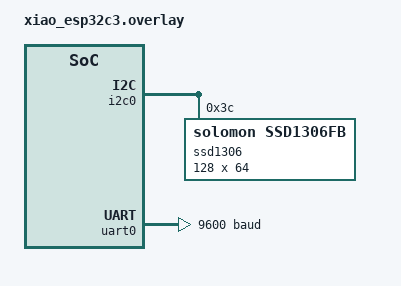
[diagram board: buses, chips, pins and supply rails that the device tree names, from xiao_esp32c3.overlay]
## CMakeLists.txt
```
cmake_minimum_required(VERSION 3.22)
set(BOARD xiao_esp32c3)

find_package(Zephyr)
project(digital_speedometer)

include(${ZEPHYR_BASE}/cmake/cfb.cmake NO_POLICY_SCOPE)

target_sources(app PRIVATE src/main.c src/nmea_parser.h src/nmea_parser.c)

set(gen_dir ${ZEPHYR_BINARY_DIR}/include/generated/)
generate_cfb_font_for_target(app fonts/JetBrainsMono-Bold.ttf ${gen_dir}/cfb_font_speed_bold.h 26 48 -s 40 --first 32 --last 126)
```

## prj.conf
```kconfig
# I2C for SSD1306 Display
CONFIG_I2C=y

# UART for ublox NEO-6M GPS
CONFIG_SERIAL=y
CONFIG_UART_INTERRUPT_DRIVEN=y

# SSD1306 Display
CONFIG_DISPLAY=y
CONFIG_SSD1306=y
CONFIG_SSD1306_DEFAULT=y
CONFIG_SSD1306_DEFAULT_CONTRAST=255
CONFIG_SSD1306_REVERSE_MODE=y

# Custom fonts
CONFIG_CHARACTER_FRAMEBUFFER=y
CONFIG_CHARACTER_FRAMEBUFFER_USE_DEFAULT_FONTS=n

# Logging
CONFIG_CFB_LOG_LEVEL_DBG=y
CONFIG_LOG=y

# Needed for use of sscanf()
CONFIG_NEWLIB_LIBC=y
CONFIG_NEWLIB_LIBC_NANO=y
CONFIG_NEWLIB_LIBC_FLOAT_PRINTF=y
CONFIG_NEWLIB_LIBC_FLOAT_SCANF=y
```

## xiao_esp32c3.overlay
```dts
&i2c0 {
	ssd1306: ssd1306@3c {
		compatible = "solomon,ssd1306fb";
		reg = <0x3c>;
		height = <64>;
		width = <128>;
		segment-offset = <0>;
		page-offset = <0>;
		display-offset = <0>;
		multiplex-ratio = <63>;
		prechargep = <0x22>;
		com-invdir;
		segment-remap;
	};
};

&uart0 {
	status = "okay";
	current-speed = <9600>;
};
```

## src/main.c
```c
#include <zephyr/kernel.h>
#include <zephyr/device.h>
#include <zephyr/kernel.h>
#include <zephyr/display/cfb.h>
#include <zephyr/drivers/display.h>
#include <zephyr/drivers/uart.h>
#include <zephyr/logging/log.h>
#include <zephyr/sys/printk.h>

#include <stdint.h>
#include <stdio.h>
#include <stdlib.h>
#include <string.h>

#include "nmea_parser.h"

LOG_MODULE_REGISTER(Speedometer);

/* SSD1306 Display */
#define DISPLAY_BUFFER_PITCH 128
static const struct device *display_dev = DEVICE_DT_GET(DT_NODELABEL(ssd1306));

/* UART */
#define UART_NODE1 DT_NODELABEL(uart0)
static const struct device *const uart_dev = DEVICE_DT_GET(UART_NODE1);
#define MSG_SIZE 82
K_MSGQ_DEFINE(uart_msgq, MSG_SIZE, 10, 128); // Meassage queue for UART

void uart_cb(const struct device *dev, void *user_data) {
	ARG_UNUSED(user_data);

	uint8_t c;
	int rx_buf_pos = 0;
	char rx_buf[MSG_SIZE]; // 80 + 2 for \r\n; maximum length according to NMEA 0183 standard

	while (uart_fifo_read(uart_dev, &c, 1) == 1) {
		if ((c == '\n' || c == '\r') && rx_buf_pos > 0) {
			/* terminate string */
			rx_buf[rx_buf_pos] = '\0';

			/* if queue is full, message is silently dropped */
			k_msgq_put(&uart_msgq, &rx_buf, K_NO_WAIT);

			/* reset the buffer (it was copied to the msgq) */
			rx_buf_pos = 0;
		} else if (rx_buf_pos < (sizeof(rx_buf) - 1)) {
			rx_buf[rx_buf_pos++] = c;
		}
		/* else: characters beyond buffer size are dropped */
	}
}

int uart_init() {
	if (uart_dev == NULL) {
		LOG_ERR("uart device pointer is NULL");
		return -1;
	}

	if (!device_is_ready(uart_dev)) {
		LOG_ERR("uart device is not ready");
		return -1;
	}

	int ret = uart_irq_callback_user_data_set(uart_dev, uart_cb, NULL);

	if (ret < 0) {
		if (ret == -ENOTSUP) {
			printk("Interrupt-driven UART API support not enabled\n");
			return -ENOTSUP;
		} else if (ret == -ENOSYS) {
			printk("UART device does not support interrupt-driven API\n");
			return -ENOSYS;
		} else {
			printk("Error setting UART callback: %d\n", ret);
			return ret;
		}
		return 0;
	}
	uart_irq_rx_enable(uart_dev);

	LOG_INF("UART-Device Name: %s", uart_dev->name);

	return 0;
}

int display_init() {
	if (display_dev == NULL) {
		LOG_ERR("display device pointer is NULL");
		return -1;
	}

	if (!device_is_ready(display_dev)) {
		LOG_ERR("display device is not ready");
		return -1;
	}

	if (display_set_pixel_format(display_dev, PIXEL_FORMAT_MONO10) != 0)
	{
		LOG_ERR("Failed to set required pixel format\n");
		return -1;
	}

	if (cfb_framebuffer_init(display_dev))
	{
		LOG_ERR("Framebuffer initialization failed!\n");
		return -1;
	}

	/* DISPLAY INIT */
	cfb_framebuffer_clear(display_dev, true);
	display_blanking_off(display_dev);
	struct display_capabilities capabilities;
	display_get_capabilities(display_dev, &capabilities);

	const uint16_t x_res = capabilities.x_resolution;
	const uint16_t y_res = capabilities.y_resolution;

	LOG_INF("x_resolution: %d", x_res);
	LOG_INF("y_resolution: %d", y_res);
	LOG_INF("supported pixel formats: %d", capabilities.supported_pixel_formats);
	LOG_INF("screen_info: %d", capabilities.screen_info);
	LOG_INF("current_pixel_format: %d", capabilities.current_pixel_format);
	LOG_INF("current_orientation: %d", capabilities.current_orientation);

	const struct display_buffer_descriptor buf_desc = {
		.width = x_res,
		.height = y_res,
		.buf_size = x_res * y_res,
		.pitch = DISPLAY_BUFFER_PITCH
	};

	cfb_framebuffer_clear(display_dev, false);
	/* END DISPLAY INIT*/

	return 0;
}

int initialize_devices(void) {
	if (display_init()) {
		LOG_ERR("Failed to initialize display");
		return;
	}

	if (uart_init()) {
		LOG_ERR("Failed to initialize uart");
		return;
	}

	return 0;
}

void display_print_speed(struct device *dev, uint8_t brightness, char *buf) {
	if (display_set_contrast(dev, brightness)) {
		LOG_ERR("could not set display contrast");
	}
	cfb_framebuffer_clear(dev, false);
	cfb_framebuffer_set_font(dev, 0);
	cfb_print(dev, buf, 0, 0);
	cfb_framebuffer_finalize(dev);
}

void main(void) {
	struct nmea_data nmea_data;
	struct gprmc_data gprmc;
    nmea_data.gprmc = gprmc;
	struct gpvtg_data gpvtg;
    nmea_data.gpvtg = gpvtg;
	struct gpgga_data gpgga;
	nmea_data.gpgga = gpgga;
	
	uint8_t tx_buf[MSG_SIZE];
	int ret = 0;

	LOG_INF("Starting speedometer");

	if (initialize_devices()) {
		LOG_ERR("Failed to initialize devices");
		return;
	}
	
	while (k_msgq_get(&uart_msgq, &tx_buf, K_FOREVER) == 0) {
		ret = parse_nmea(tx_buf, &nmea_data);
		if (ret) {
			LOG_ERR("Failed to parse NMEA message");
			continue;
		}
		display_print_speed(display_dev, 255, gpvtg.ground_speed_kph);
	}

}
```

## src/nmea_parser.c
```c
#include "nmea_parser.h"
#include <stdio.h>
#include <string.h>

/*
 * GPRMC:
 *  GPRMC - Recommended minimum specific GPS/Transit data
 * 
 * Example GPRMC string:
 *  $GPRMC,225446,A,4916.45,N,12311.12,W,000.5,054.7,191194,020.3,E*68
 * 
 * Functions:
 *  is_gprmc() returns 1 if the string is a GPRMC string, 0 otherwise
 *  parse_gprmc() parses the GPRMC string and stores the data in the data struct
 * 
 * Data struct:
 *  struct gprmc_data
 *      - time: time in UTC (hhmmss.ss) [char[10]]
 *      - status: status (A=active or V=void) [char]
 *      - latitude: latitude (ddmm.mmmm) [char[10]]
 *      - latitude_direction: latitude direction (N=north or S=south) [char]
 *      - longitude: longitude (dddmm.mmmm) [char[10]]
 *      - longitude_direction: longitude direction (E=east or W=west) [char]
 *      - speed: speed over ground in knots (000.0-999.9) [char[10]]
 *      - course: course over ground (degrees) (000.0-359.9) [char[10]]
 *      - date: date (ddmmyy) [char[10]]
 *      - magnetic_variation: magnetic variation (degrees) [char[10]]
 *      - magnetic_variation_direction: magnetic variation direction (E=east or W=west) [char]
 */ 

int is_gprmc(char *nmea) {
    if (strncmp(nmea, "$GPRMC", (unsigned long)6) == 0) {
        return 1;
    }
    return 0;
}

int parse_gprmc(char *nmea, struct gprmc_data *data) {
    // Parse the NMEA data and store it in the data struct
    if (!is_gprmc(nmea)) {
        return -1;
    }
    // Example parsing code for GPRMC data
    sscanf(nmea, "$GPRMC,%[^,],%c,%[^,],%c,%[^,],%c,%[^,],%[^,],%[^,],%[^,],%c",
           data->time, &data->status, data->latitude, &data->latitude_direction,
           data->longitude, &data->longitude_direction, data->speed, data->course,
           data->date, data->magnetic_variation, &data->magnetic_variation_direction);
    return 0;
}

/*
 * GPVTG:
 *  GPVTG - Track Made Good and Ground Speed
 * 
 * Example GPVTG string:
 *  $GPVTG,054.7,T,034.4,M,005.5,N,010.2,K*48
 * 
 * Functions:
 *  is_gpvtg() returns 1 if the string is a GPVTG string, 0 otherwise
 *  parse_gpvtg() parses the GPVTG string and stores the data in the data struct
 * 
 * Data struct:
 *  struct gpvtg_data
 *      - true_track: true track made good (degrees) (000.0-359.9) [char[10]]
 *      - true_track_indicator: true track made good indicator (T) [char]
 *      - magnetic_track: magnetic track made good (degrees) (000.0-359.9) [char[10]]
 *      - magnetic_track_indicator: magnetic track made good indicator (M) [char]
 *      - ground_speed_knots: ground speed in knots (000.0-999.9) [char[10]]
 *      - ground_speed_knots_unit: ground speed in knots unit (N) [char]
 *      - ground_speed_kph: ground speed in kilometers per hour (000.0-999.9) [char[10]]
 *      - ground_speed_kph_unit: ground speed in kilometers per hour unit (K) [char]
 */ 

int is_gpvtg(char *nmea) {
    if (strncmp(nmea, "$GPVTG", (unsigned long)6) == 0) {
        return 1;
    }
    return 0;
}

int parse_gpvtg(char *nmea, struct gpvtg_data *data) {
    // Parse the NMEA data and store it in the data struct
    if (!is_gpvtg(nmea)) {
        return -1;
    }
    // Example parsing code for GPVTG data
    sscanf(nmea, "$GPVTG,%[^,],%c,%[^,],%c,%[^,],%c,%[^,],%c",
           data->true_track, &data->true_track_indicator, data->magnetic_track,
           &data->magnetic_track_indicator, data->ground_speed_knots,
           &data->ground_speed_knots_unit, data->ground_speed_kph,
           &data->ground_speed_kph_unit);
    return 0;
}

/*
 * GPGGA:
 *  GPGGA - Global Positioning System Fix Data
 * 
 * Example GPGGA string:
 *  $GPGGA,123519,4807.038,N,01131.000,E,1,08,0.9,545.4,M,46.9,M,,*47
 * 
 * Functions:
 *  is_gpgga() returns 1 if the string is a GPGGA string, 0 otherwise
 *  parse_gpgga() parses the GPGGA string and stores the data in the data struct
 * 
 * Data struct:
 *  struct gpgga_data
 *      - time: time in UTC (hhmmss.ss) [char[10]]
 *      - latitude: latitude (ddmm.mmmm) [char[10]]
 *      - latitude_direction: latitude direction (N=north or S=south) [char]
 *      - longitude: longitude (dddmm.mmmm) [char[10]]
 *      - longitude_direction: longitude direction (E=east or W=west) [char]
 *      - fix_quality: GPS fix quality (0=invalid, 1=GPS fix, 2=DGPS fix) [int]
 *      - num_satellites: number of satellites in use (00-12) [int]
 *      - hdop: horizontal dilution of precision (0.5-99.9) [float]
 *      - altitude: altitude above mean sea level (meters) [float]
 *      - altitude_unit: altitude unit (M) [char]
 *      - geoid_height: height of geoid above WGS84 ellipsoid (meters) [float]
 *      - geoid_height_unit: geoid height unit (M) [char]
 */ 

int is_gpgga(char *nmea) {
    if (strncmp(nmea, "$GPGGA", (unsigned long)6) == 0) {
        return 1;
    }
    return 0;
}

int parse_gpgga(char *nmea, struct gpgga_data *data) {
    // Parse the NMEA data and store it in the data struct
    if (!is_gpgga(nmea)) {
        return -1;
    }
    // Example parsing code for GPGGA data
    sscanf(nmea, "$GPGGA,%[^,],%[^,],%c,%[^,],%c,%d,%d,%f,%f,%c,%f,%c",
           data->time, data->latitude, &data->latitude_direction, data->longitude,
           &data->longitude_direction, &data->fix_quality, &data->num_satellites,
           &data->hdop, &data->altitude, &data->altitude_unit, &data->geoid_height,
           &data->geoid_height_unit);
    return 0;
}

/*
 * Support Functions
 */

int check_nmea_type(char *input) {
    if (is_gpgga(input)) {
        return GPGGA;
    } else if (is_gprmc(input)) {
        return GPRMC;
    } else if (is_gpvtg(input)) {
        return GPVTG;
    } else {
        return UNKNOWN;
    }
}

int parse_nmea(char *input, struct nmea_data *data) {
    int type = check_nmea_type(input);
    if (type == GPGGA) {
        return (int)parse_gpgga(input, &data->gpgga);
    } else if (type == GPRMC) {
        return (int)parse_gprmc(input, &data->gprmc);
    } else if (type == GPVTG) {
        return (int)parse_gpvtg(input, &data->gpvtg);
    } else {
        return -1;
    }
}
```

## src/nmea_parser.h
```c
#ifndef NMEA_PARSER_H
#define NMEA_PARSER_H

#ifdef __cplusplus
extern "C" {
#endif

#include <stdio.h>
#include <string.h>
#include <zephyr/kernel.h>


struct gprmc_data {
    char time[10];
    char status;
    char latitude[10];
    char latitude_direction;
    char longitude[10];
    char longitude_direction;
    char speed[10];
    char course[10];
    char date[10];
    char magnetic_variation[10];
    char magnetic_variation_direction;
};

struct gpvtg_data {
    char true_track[10];
    char true_track_indicator;
    char magnetic_track[10];
    char magnetic_track_indicator;
    char ground_speed_knots[10];
    char ground_speed_knots_unit;
    char ground_speed_kph[10];
    char ground_speed_kph_unit;
};

struct gpgga_data {
    char time[10];
    char latitude[10];
    char latitude_direction;
    char longitude[10];
    char longitude_direction;
    int fix_quality;
    int num_satellites;
    float hdop;
    float altitude;
    char altitude_unit;
    float geoid_height;
    char geoid_height_unit;
};


struct nmea_data {
    struct gprmc_data gprmc;
    struct gpvtg_data gpvtg;
    struct gpgga_data gpgga;
};

enum nmea_type {
    UNKNOWN = -1,
    GPRMC = 0,
    GPVTG,
    GPGGA
};
/*
 * GPRMC:
 *  GPRMC - Recommended minimum specific GPS/Transit data
 *
 * Example GPRMC string:
 *  $GPRMC,225446,A,4916.45,N,12311.12,W,000.5,054.7,191194,020.3,E*68
 *
 * Functions:
 *  is_gprmc() returns 1 if the string is a GPRMC string, 0 otherwise
 *  parse_gprmc() parses the GPRMC string and stores the data in the data struct
 *
 * Data struct:
 *  struct gprmc_data
 *      - time: time in UTC (hhmmss.ss) [char[10]]
 *      - status: status (A=active or V=void) [char]
 *      - latitude: latitude (ddmm.mmmm) [char[10]]
 *      - latitude_direction: latitude direction (N=north or S=south) [char]
 *      - longitude: longitude (dddmm.mmmm) [char[10]]
 *      - longitude_direction: longitude direction (E=east or W=west) [char]
 *      - speed: speed over ground in knots (000.0-999.9) [char[10]]
 *      - course: course over ground (degrees) (000.0-359.9) [char[10]]
 *      - date: date (ddmmyy) [char[10]]
 *      - magnetic_variation: magnetic variation (degrees) [char[10]]
 *      - magnetic_variation_direction: magnetic variation direction (E=east or W=west) [char]
 */

int is_gprmc(char *nmea);

int parse_gprmc(char *nmea, struct gprmc_data *data);

/*
 * GPVTG:
 *  GPVTG - Track Made Good and Ground Speed
 *
 * Example GPVTG string:
 *  $GPVTG,054.7,T,034.4,M,005.5,N,010.2,K*48
 *
 * Functions:
 *  is_gpvtg() returns 1 if the string is a GPVTG string, 0 otherwise
 *  parse_gpvtg() parses the GPVTG string and stores the data in the data struct
 *
 * Data struct:
 *  struct gpvtg_data
 *      - true_track: true track made good (degrees) (000.0-359.9) [char[10]]
 *      - true_track_indicator: true track made good indicator (T) [char]
 *      - magnetic_track: magnetic track made good (degrees) (000.0-359.9) [char[10]]
 *      - magnetic_track_indicator: magnetic track made good indicator (M) [char]
 *      - ground_speed_knots: ground speed in knots (000.0-999.9) [char[10]]
 *      - ground_speed_knots_unit: ground speed in knots unit (N) [char]
 *      - ground_speed_kph: ground speed in kilometers per hour (000.0-999.9) [char[10]]
 *      - ground_speed_kph_unit: ground speed in kilometers per hour unit (K) [char]
 */

int is_gpvtg(char *nmea);

int parse_gpvtg(char *nmea, struct gpvtg_data *data);

/*
 * GPGGA:
 *  GPGGA - Global Positioning System Fix Data
 *
 * Example GPGGA string:
 *  $GPGGA,123519,4807.038,N,01131.000,E,1,08,0.9,545.4,M,46.9,M,,*47
 *
 * Functions:
 *  is_gpgga() returns 1 if the string is a GPGGA string, 0 otherwise
 *  parse_gpgga() parses the GPGGA string and stores the data in the data struct
 *
 * Data struct:
 *  struct gpgga_data
 *      - time: time in UTC (hhmmss.ss) [char[10]]
 *      - latitude: latitude (ddmm.mmmm) [char[10]]
 *      - latitude_direction: latitude direction (N=north or S=south) [char]
 *      - longitude: longitude (dddmm.mmmm) [char[10]]
 *      - longitude_direction: longitude direction (E=east or W=west) [char]
 *      - fix_quality: GPS fix quality (0=invalid, 1=GPS fix, 2=DGPS fix) [int]
 *      - num_satellites: number of satellites in use (00-12) [int]
 *      - hdop: horizontal dilution of precision (0.5-99.9) [float]
 *      - altitude: altitude above mean sea level (meters) [float]
 *      - altitude_unit: altitude unit (M) [char]
 *      - geoid_height: height of geoid above WGS84 ellipsoid (meters) [float]
 *      - geoid_height_unit: geoid height unit (M) [char]
 */

int is_gpgga(char *nmea);

int parse_gpgga(char *nmea, struct gpgga_data *data);

/*
 * Support functions, structures and enums
 */

int check_nmea_type(char *input);
int parse_nmea(char *input, struct nmea_data *data);

#ifdef __cplusplus
}
#endif

#endif /* NMEA_PARSER_H */
```
